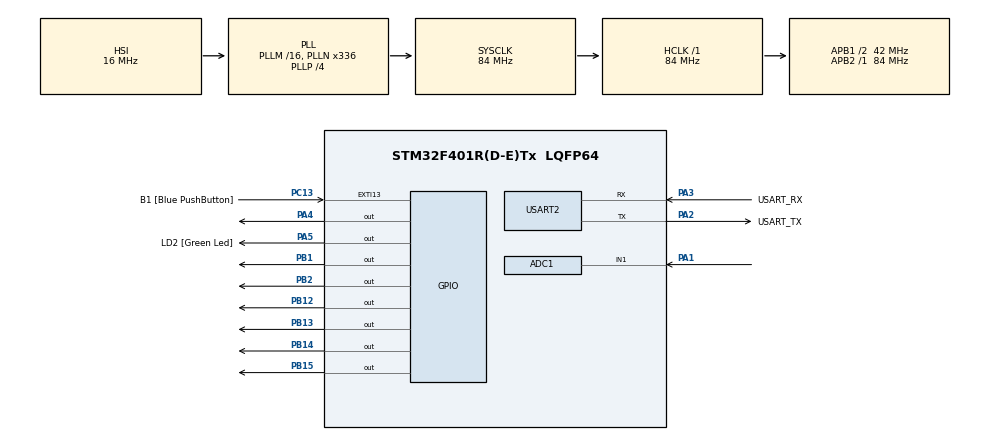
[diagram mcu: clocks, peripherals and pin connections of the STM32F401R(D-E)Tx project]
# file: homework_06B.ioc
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ADC1.Channel-0\#ChannelRegularConversion=ADC_CHANNEL_1
ADC1.ExternalTrigConv=ADC_EXTERNALTRIGCONV_T2_TRGO
ADC1.NbrOfConversionFlag=1
ADC1.Rank-0\#ChannelRegularConversion=1
ADC1.SamplingTime-0\#ChannelRegularConversion=ADC_SAMPLETIME_3CYCLES
ADC1.master=1
Mcu.Family=STM32F4
Mcu.Name=STM32F401R(D-E)Tx
Mcu.Package=LQFP64
NVIC.ADC_IRQn=true\:0\:0\:false\:false\:true\:true\:true\:true
NVIC.PriorityGroup=NVIC_PRIORITYGROUP_4
PA1.Signal=ADCx_IN1
PA13.GPIO_Label=TMS
PA13.Mode=Trace_Asynchronous_SW
PA13.Signal=SYS_JTMS-SWDIO
PA14.GPIO_Label=TCK
PA14.Mode=Trace_Asynchronous_SW
PA14.Signal=SYS_JTCK-SWCLK
PA2.GPIO_Label=USART_TX
PA2.GPIO_Mode=GPIO_MODE_AF_PP
PA2.GPIO_PuPd=GPIO_NOPULL
PA2.GPIO_Speed=GPIO_SPEED_FREQ_LOW
PA2.Mode=Asynchronous
PA2.Signal=USART2_TX
PA3.GPIO_Label=USART_RX
PA3.GPIO_Mode=GPIO_MODE_AF_PP
PA3.GPIO_PuPd=GPIO_NOPULL
PA3.GPIO_Speed=GPIO_SPEED_FREQ_LOW
PA3.Mode=Asynchronous
PA3.Signal=USART2_RX
PA4.Signal=GPIO_Output
PA5.GPIO_Label=LD2 [Green Led]
PA5.GPIO_Mode=GPIO_MODE_OUTPUT_PP
PA5.GPIO_PuPd=GPIO_NOPULL
PA5.GPIO_Speed=GPIO_SPEED_FREQ_LOW
PA5.Signal=GPIO_Output
PB1.Signal=GPIO_Output
PB12.Signal=GPIO_Output
PB13.Signal=GPIO_Output
PB14.Signal=GPIO_Output
PB15.Signal=GPIO_Output
PB2.Signal=GPIO_Output
PB3.GPIO_Label=SWO
PB3.Mode=Trace_Asynchronous_SW
PB3.Signal=SYS_JTDO-SWO
PC13-ANTI_TAMP.GPIO_Label=B1 [Blue PushButton]
PC13-ANTI_TAMP.GPIO_ModeDefaultEXTI=GPIO_MODE_IT_FALLING
PC13-ANTI_TAMP.GPIO_PuPd=GPIO_NOPULL
PC13-ANTI_TAMP.Signal=GPXTI13
PC14-OSC32_IN.Mode=LSE-External-Oscillator
PC14-OSC32_IN.Signal=RCC_OSC32_IN
PC15-OSC32_OUT.Mode=LSE-External-Oscillator
PC15-OSC32_OUT.Signal=RCC_OSC32_OUT
PH0\ -\ OSC_IN.Mode=HSE-External-Clock-Source
PH0\ -\ OSC_IN.Signal=RCC_OSC_IN
PH1\ -\ OSC_OUT.Mode=HSE-External-Clock-Source
PH1\ -\ OSC_OUT.Signal=RCC_OSC_OUT
ProjectManager.HeapSize=0x200
ProjectManager.StackSize=0x400
ProjectManager.TargetToolchain=CMake
RCC.48MHZClocksFreq_Value=48000000
RCC.AHBFreq_Value=84000000
RCC.APB1CLKDivider=RCC_HCLK_DIV2
RCC.APB1Freq_Value=42000000
RCC.APB1TimFreq_Value=84000000
RCC.APB2Freq_Value=84000000
RCC.APB2TimFreq_Value=84000000
RCC.CortexFreq_Value=84000000
RCC.HCLKFreq_Value=84000000
RCC.HSE_VALUE=8000000
RCC.HSI_VALUE=16000000
RCC.PLLN=336
RCC.PLLP=RCC_PLLP_DIV4
RCC.PLLQ=7
RCC.SYSCLKFreq_VALUE=84000000
RCC.SYSCLKSource=RCC_SYSCLKSOURCE_PLLCLK
RCC.VCOOutputFreq_Value=336000000
SH.ADCx_IN1.0=ADC1_IN1,IN1
TIM2.Period=10000-1
TIM2.Prescaler=8400-1
TIM2.TIM_MasterOutputTrigger=TIM_TRGO_UPDATE
USART2.VirtualMode=VM_ASYNC
VP_TIM2_VS_ClockSourceINT.Mode=Internal
board=NUCLEO-F401RE

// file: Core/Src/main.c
/* USER CODE BEGIN Header */
/**
  ******************************************************************************
  * @file           : main.c
  * @brief          : Main program body
  ******************************************************************************
  * @attention
  *
  * Copyright (c) 2026 STMicroelectronics.
  * All rights reserved.
  *
  * This software is licensed under terms that can be found in the LICENSE file
  * in the root directory of this software component.
  * If no LICENSE file comes with this software, it is provided AS-IS.
  *
  ******************************************************************************
  */
/* USER CODE END Header */
#include "main.h"

/* USER CODE BEGIN Includes */
#include "PMDB16_LCD.h"
#include "stdio.h"
#include "string.h"
/* USER CODE END Includes */

ADC_HandleTypeDef hadc1;

TIM_HandleTypeDef htim2;

UART_HandleTypeDef huart2;

/* USER CODE BEGIN PV */
float adc_val;
float voltage;
char msg[32];
/* USER CODE END PV */

void SystemClock_Config(void);
static void MX_GPIO_Init(void);
static void MX_ADC1_Init(void);
static void MX_TIM2_Init(void);
static void MX_USART2_UART_Init(void);

int main(void)
{

  /* MCU Configuration--------------------------------------------------------*/

  /* Reset of all peripherals, Initializes the Flash interface and the Systick. */
  HAL_Init();

  /* Configure the system clock */
  SystemClock_Config();

  /* Initialize all configured peripherals */
  MX_GPIO_Init();
  MX_ADC1_Init();
  MX_TIM2_Init();
  MX_USART2_UART_Init();
  /* USER CODE BEGIN 2 */
  lcd_initialize();
  lcd_backlight_ON();
  lcd_clear();
  HAL_TIM_Base_Start(&htim2);
  HAL_ADC_Start_IT(&hadc1);
  /* USER CODE END 2 */

  /* Infinite loop */
  while (1)
  {

  }
}

void SystemClock_Config(void)
{
  RCC_OscInitTypeDef RCC_OscInitStruct = {0};
  RCC_ClkInitTypeDef RCC_ClkInitStruct = {0};

  /** Configure the main internal regulator output voltage
  */
  __HAL_RCC_PWR_CLK_ENABLE();
  __HAL_PWR_VOLTAGESCALING_CONFIG(PWR_REGULATOR_VOLTAGE_SCALE2);

  /** Initializes the RCC Oscillators according to the specified parameters
  * in the RCC_OscInitTypeDef structure.
  */
  RCC_OscInitStruct.OscillatorType = RCC_OSCILLATORTYPE_HSI;
  RCC_OscInitStruct.HSIState = RCC_HSI_ON;
  RCC_OscInitStruct.HSICalibrationValue = RCC_HSICALIBRATION_DEFAULT;
  RCC_OscInitStruct.PLL.PLLState = RCC_PLL_ON;
  RCC_OscInitStruct.PLL.PLLSource = RCC_PLLSOURCE_HSI;
  RCC_OscInitStruct.PLL.PLLM = 16;
  RCC_OscInitStruct.PLL.PLLN = 336;
  RCC_OscInitStruct.PLL.PLLP = RCC_PLLP_DIV4;
  RCC_OscInitStruct.PLL.PLLQ = 7;
  if (HAL_RCC_OscConfig(&RCC_OscInitStruct) != HAL_OK)
  {
    Error_Handler();
  }

  /** Initializes the CPU, AHB and APB buses clocks
  */
  RCC_ClkInitStruct.ClockType = RCC_CLOCKTYPE_HCLK|RCC_CLOCKTYPE_SYSCLK
                              |RCC_CLOCKTYPE_PCLK1|RCC_CLOCKTYPE_PCLK2;
  RCC_ClkInitStruct.SYSCLKSource = RCC_SYSCLKSOURCE_PLLCLK;
  RCC_ClkInitStruct.AHBCLKDivider = RCC_SYSCLK_DIV1;
  RCC_ClkInitStruct.APB1CLKDivider = RCC_HCLK_DIV2;
  RCC_ClkInitStruct.APB2CLKDivider = RCC_HCLK_DIV1;

  if (HAL_RCC_ClockConfig(&RCC_ClkInitStruct, FLASH_LATENCY_2) != HAL_OK)
  {
    Error_Handler();
  }
}

static void MX_ADC1_Init(void)
{

  ADC_ChannelConfTypeDef sConfig = {0};

  /** Configure the global features of the ADC (Clock, Resolution, Data Alignment and number of conversion)
  */
  hadc1.Instance = ADC1;
  hadc1.Init.ClockPrescaler = ADC_CLOCK_SYNC_PCLK_DIV4;
  hadc1.Init.Resolution = ADC_RESOLUTION_12B;
  hadc1.Init.ScanConvMode = DISABLE;
  hadc1.Init.ContinuousConvMode = DISABLE;
  hadc1.Init.DiscontinuousConvMode = DISABLE;
  hadc1.Init.ExternalTrigConvEdge = ADC_EXTERNALTRIGCONVEDGE_RISING;
  hadc1.Init.ExternalTrigConv = ADC_EXTERNALTRIGCONV_T2_TRGO;
  hadc1.Init.DataAlign = ADC_DATAALIGN_RIGHT;
  hadc1.Init.NbrOfConversion = 1;
  hadc1.Init.DMAContinuousRequests = DISABLE;
  hadc1.Init.EOCSelection = ADC_EOC_SINGLE_CONV;
  if (HAL_ADC_Init(&hadc1) != HAL_OK)
  {
    Error_Handler();
  }

  /** Configure for the selected ADC regular channel its corresponding rank in the sequencer and its sample time.
  */
  sConfig.Channel = ADC_CHANNEL_1;
  sConfig.Rank = 1;
  sConfig.SamplingTime = ADC_SAMPLETIME_3CYCLES;
  if (HAL_ADC_ConfigChannel(&hadc1, &sConfig) != HAL_OK)
  {
    Error_Handler();
  }

}

static void MX_TIM2_Init(void)
{

  TIM_ClockConfigTypeDef sClockSourceConfig = {0};
  TIM_MasterConfigTypeDef sMasterConfig = {0};

  htim2.Instance = TIM2;
  htim2.Init.Prescaler = 8400-1;
  htim2.Init.CounterMode = TIM_COUNTERMODE_UP;
  htim2.Init.Period = 10000-1;
  htim2.Init.ClockDivision = TIM_CLOCKDIVISION_DIV1;
  htim2.Init.AutoReloadPreload = TIM_AUTORELOAD_PRELOAD_DISABLE;
  if (HAL_TIM_Base_Init(&htim2) != HAL_OK)
  {
    Error_Handler();
  }
  sClockSourceConfig.ClockSource = TIM_CLOCKSOURCE_INTERNAL;
  if (HAL_TIM_ConfigClockSource(&htim2, &sClockSourceConfig) != HAL_OK)
  {
    Error_Handler();
  }
  sMasterConfig.MasterOutputTrigger = TIM_TRGO_UPDATE;
  sMasterConfig.MasterSlaveMode = TIM_MASTERSLAVEMODE_DISABLE;
  if (HAL_TIMEx_MasterConfigSynchronization(&htim2, &sMasterConfig) != HAL_OK)
  {
    Error_Handler();
  }

}

static void MX_USART2_UART_Init(void)
{

  huart2.Instance = USART2;
  huart2.Init.BaudRate = 115200;
  huart2.Init.WordLength = UART_WORDLENGTH_8B;
  huart2.Init.StopBits = UART_STOPBITS_1;
  huart2.Init.Parity = UART_PARITY_NONE;
  huart2.Init.Mode = UART_MODE_TX_RX;
  huart2.Init.HwFlowCtl = UART_HWCONTROL_NONE;
  huart2.Init.OverSampling = UART_OVERSAMPLING_16;
  if (HAL_UART_Init(&huart2) != HAL_OK)
  {
    Error_Handler();
  }

}

static void MX_GPIO_Init(void)
{
  GPIO_InitTypeDef GPIO_InitStruct = {0};

  /* GPIO Ports Clock Enable */
  __HAL_RCC_GPIOC_CLK_ENABLE();
  __HAL_RCC_GPIOH_CLK_ENABLE();
  __HAL_RCC_GPIOA_CLK_ENABLE();
  __HAL_RCC_GPIOB_CLK_ENABLE();

  /*Configure GPIO pin Output Level */
  HAL_GPIO_WritePin(GPIOA, GPIO_PIN_4|LD2_Pin, GPIO_PIN_RESET);

  /*Configure GPIO pin Output Level */
  HAL_GPIO_WritePin(GPIOB, GPIO_PIN_1|GPIO_PIN_2|GPIO_PIN_12|GPIO_PIN_13
                          |GPIO_PIN_14|GPIO_PIN_15, GPIO_PIN_RESET);

  /*Configure GPIO pin : B1_Pin */
  GPIO_InitStruct.Pin = B1_Pin;
  GPIO_InitStruct.Mode = GPIO_MODE_IT_FALLING;
  GPIO_InitStruct.Pull = GPIO_NOPULL;
  HAL_GPIO_Init(B1_GPIO_Port, &GPIO_InitStruct);

  /*Configure GPIO pins : PA4 LD2_Pin */
  GPIO_InitStruct.Pin = GPIO_PIN_4|LD2_Pin;
  GPIO_InitStruct.Mode = GPIO_MODE_OUTPUT_PP;
  GPIO_InitStruct.Pull = GPIO_NOPULL;
  GPIO_InitStruct.Speed = GPIO_SPEED_FREQ_LOW;
  HAL_GPIO_Init(GPIOA, &GPIO_InitStruct);

  /*Configure GPIO pins : PB1 PB2 PB12 PB13
                           PB14 PB15 */
  GPIO_InitStruct.Pin = GPIO_PIN_1|GPIO_PIN_2|GPIO_PIN_12|GPIO_PIN_13
                          |GPIO_PIN_14|GPIO_PIN_15;
  GPIO_InitStruct.Mode = GPIO_MODE_OUTPUT_PP;
  GPIO_InitStruct.Pull = GPIO_NOPULL;
  GPIO_InitStruct.Speed = GPIO_SPEED_FREQ_LOW;
  HAL_GPIO_Init(GPIOB, &GPIO_InitStruct);

}

/* USER CODE BEGIN 4 */
void HAL_ADC_ConvCpltCallback(ADC_HandleTypeDef* hadc)
{
    if (hadc == &hadc1)
    {
      adc_val = HAL_ADC_GetValue(hadc);
      voltage = (adc_val * 3.3 / 4095);
      snprintf(msg, sizeof(msg), "Voltage: %.3f V", voltage);
      lcd_println(msg, 0);
      lcd_drawBar(adc_val * 80 / 4095);
    }
}
/* USER CODE END 4 */

void Error_Handler(void)
{
  __disable_irq();
  while (1)
  {
  }
}
